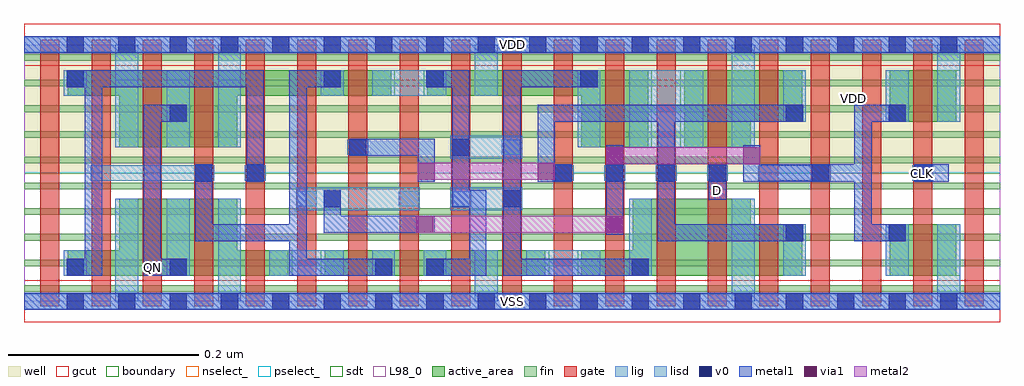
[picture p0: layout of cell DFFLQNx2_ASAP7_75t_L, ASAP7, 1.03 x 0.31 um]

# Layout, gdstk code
import gdstk
lib = gdstk.Library(unit=1e-6, precision=2.5e-10)
def R(c, l, rs):  # rectangles x0, y0, x1, y1
    for r in rs: c.add(gdstk.rectangle(r[:2], r[2:], *l))
def A(c, l, x, y, w, h, nx, ny, dx, dy):  # array of equal rectangles
    R(c, l, [(x+i*dx, y+j*dy, x+i*dx+w, y+j*dy+h) for i in range(nx) for j in range(ny)])
def P(c, l, *ps):  # polygons
    for p in ps: c.add(gdstk.Polygon(p, *l))
well = (1, 0)
fin = (2, 0)
gate = (7, 0)
gcut = (10, 0)
active_area = (11, 0)
nselect_ = (12, 0)
pselect_ = (13, 0)
lig = (16, 0)
lisd = (17, 0)
v0 = (18, 0)
metal1 = (19, 0)
metal2 = (20, 0)
via1 = (21, 0)
sdt = (88, 0)
L98_0 = (98, 0)
boundary = (100, 0)

dfflqnx2_asap7_75t_l = lib.new_cell('DFFLQNx2_ASAP7_75t_L')
R(dfflqnx2_asap7_75t_l, well, [(0,0.135,1.026,0.27)])
A(dfflqnx2_asap7_75t_l, fin, 0, 0.01, 1.026, 0.007, 1, 10, 0, 0.027)
A(dfflqnx2_asap7_75t_l, gate, 0.017, -0.005, 0.02, 0.28, 19, 1, 0.054, 0)
R(dfflqnx2_asap7_75t_l, gcut, [(0,-0.022,1.026,0.022), (0,0.248,1.026,0.292)])
R(dfflqnx2_asap7_75t_l, active_area, [(0.316,0.027,0.548,0.054), (0.91,0.027,0.98,0.081), (0.91,0.189,0.98,0.243)])
P(dfflqnx2_asap7_75t_l, active_area, [(0.586,0.027),(0.586,0.054),(0.64,0.054),(0.64,0.108),(0.764,0.108),(0.764,0.081),(0.818,0.081),(0.818,0.027)],
  [(0.046,0.027),(0.046,0.054),(0.1,0.054),(0.1,0.108),(0.224,0.108),(0.224,0.054),(0.278,0.054),(0.278,0.027)],
  [(0.694,0.162),(0.694,0.243),(0.818,0.243),(0.818,0.189),(0.764,0.189),(0.764,0.162)],
  [(0.586,0.162),(0.586,0.216),(0.424,0.216),(0.424,0.243),(0.656,0.243),(0.656,0.162)],
  [(0.1,0.162),(0.1,0.216),(0.046,0.216),(0.046,0.243),(0.386,0.243),(0.386,0.216),(0.224,0.216),(0.224,0.162)])
R(dfflqnx2_asap7_75t_l, nselect_, [(0,0,1.026,0.135)])
R(dfflqnx2_asap7_75t_l, pselect_, [(0,0.135,1.026,0.27)])
A(dfflqnx2_asap7_75t_l, lig, 0.556, 0.127, 0.022, 0.016, 4, 1, 0.054, 0)
R(dfflqnx2_asap7_75t_l, lig, [(0,-0.008,1.026,0.008), (0.286,0.1,0.308,0.116), (0.394,0.1,0.416,0.116), (0.448,0.1,0.47,0.116), (0.07,0.127,0.2,0.143), (0.232,0.127,0.254,0.143), (0.772,0.127,0.848,0.143), (0.934,0.127,0.956,0.143), (0.34,0.154,0.362,0.17), (0.502,0.154,0.524,0.17), (0,0.262,1.026,0.278)])
R(dfflqnx2_asap7_75t_l, lisd, [(0.096,0,0.12,0.108), (0.204,0,0.228,0.108), (0.474,0,0.498,0.054), (0.744,0,0.768,0.108), (0.96,0,0.984,0.081), (0.042,0.027,0.066,0.054), (0.15,0.027,0.174,0.108), (0.258,0.027,0.336,0.054), (0.366,0.027,0.39,0.054), (0.42,0.027,0.444,0.054), (0.528,0.027,0.606,0.054), (0.636,0.027,0.66,0.108), (0.798,0.027,0.822,0.081), (0.906,0.027,0.93,0.081), (0.286,0.096,0.416,0.12), (0.448,0.096,0.524,0.12), (0.448,0.15,0.524,0.174), (0.096,0.162,0.12,0.27), (0.15,0.162,0.174,0.243), (0.204,0.162,0.228,0.27), (0.582,0.162,0.606,0.243), (0.636,0.162,0.714,0.243), (0.744,0.162,0.768,0.27), (0.798,0.189,0.822,0.243), (0.906,0.189,0.93,0.243), (0.96,0.189,0.984,0.27), (0.042,0.216,0.066,0.243), (0.312,0.216,0.336,0.243), (0.366,0.216,0.444,0.243), (0.474,0.216,0.498,0.27)])
A(dfflqnx2_asap7_75t_l, v0, 0.045, -0.009, 0.018, 0.018, 18, 2, 0.054, 0.27)
A(dfflqnx2_asap7_75t_l, v0, 0.558, 0.126, 0.018, 0.018, 4, 1, 0.054, 0)
R(dfflqnx2_asap7_75t_l, v0, [(0.045,0.027,0.063,0.045), (0.153,0.027,0.171,0.045), (0.369,0.027,0.387,0.045), (0.423,0.027,0.441,0.045), (0.639,0.027,0.657,0.045), (0.801,0.063,0.819,0.081), (0.909,0.063,0.927,0.081), (0.315,0.099,0.333,0.117), (0.504,0.099,0.522,0.117), (0.18,0.126,0.198,0.144), (0.234,0.126,0.252,0.144), (0.828,0.126,0.846,0.144), (0.936,0.126,0.954,0.144), (0.342,0.153,0.36,0.171), (0.45,0.153,0.468,0.171), (0.153,0.189,0.171,0.207), (0.801,0.189,0.819,0.207), (0.909,0.189,0.927,0.207), (0.045,0.225,0.063,0.243), (0.315,0.225,0.333,0.243), (0.423,0.225,0.441,0.243), (0.585,0.225,0.603,0.243)])
R(dfflqnx2_asap7_75t_l, metal1, [(0,-0.009,1.026,0.009), (0.612,0.07,0.63,0.164), (0.72,0.107,0.738,0.144), (0.936,0.126,0.972,0.144), (0,0.261,1.026,0.279)])
P(dfflqnx2_asap7_75t_l, metal1, [(0.315,0.072),(0.315,0.117),(0.333,0.117),(0.333,0.09),(0.432,0.09),(0.432,0.072)],
  [(0.414,0.126),(0.414,0.153),(0.342,0.153),(0.342,0.171),(0.432,0.171),(0.432,0.126)],
  [(0.666,0.063),(0.666,0.189),(0.558,0.189),(0.558,0.144),(0.576,0.144),(0.576,0.126),(0.54,0.126),(0.54,0.207),(0.819,0.207),(0.819,0.189),(0.684,0.189),(0.684,0.081),(0.819,0.081),(0.819,0.063)],
  [(0.126,0.027),(0.126,0.207),(0.171,0.207),(0.171,0.189),(0.144,0.189),(0.144,0.045),(0.171,0.045),(0.171,0.027)],
  [(0.279,0.027),(0.279,0.063),(0.18,0.063),(0.18,0.144),(0.198,0.144),(0.198,0.081),(0.279,0.081),(0.279,0.243),(0.333,0.243),(0.333,0.225),(0.297,0.225),(0.297,0.045),(0.387,0.045),(0.387,0.027)],
  [(0.873,0.063),(0.873,0.126),(0.756,0.126),(0.756,0.164),(0.774,0.164),(0.774,0.144),(0.873,0.144),(0.873,0.207),(0.927,0.207),(0.927,0.189),(0.891,0.189),(0.891,0.081),(0.927,0.081),(0.927,0.063)],
  [(0.504,0.027),(0.504,0.243),(0.603,0.243),(0.603,0.225),(0.522,0.225),(0.522,0.045),(0.657,0.045),(0.657,0.027)],
  [(0.045,0.027),(0.045,0.045),(0.064,0.045),(0.064,0.225),(0.045,0.225),(0.045,0.243),(0.252,0.243),(0.252,0.126),(0.234,0.126),(0.234,0.225),(0.082,0.225),(0.082,0.027)],
  [(0.423,0.027),(0.423,0.045),(0.468,0.045),(0.468,0.099),(0.45,0.099),(0.45,0.225),(0.423,0.225),(0.423,0.243),(0.468,0.243),(0.468,0.117),(0.486,0.117),(0.486,0.027)])
R(dfflqnx2_asap7_75t_l, metal2, [(0.412,0.072,0.63,0.09), (0.414,0.128,0.558,0.146), (0.612,0.144,0.774,0.162)])
R(dfflqnx2_asap7_75t_l, via1, [(0.412,0.072,0.43,0.09), (0.612,0.072,0.63,0.09), (0.414,0.128,0.432,0.146), (0.54,0.128,0.558,0.146), (0.612,0.144,0.63,0.162), (0.756,0.144,0.774,0.162)])
A(dfflqnx2_asap7_75t_l, sdt, 0.096, 0.027, 0.024, 0.081, 3, 2, 0.054, 0.135)
A(dfflqnx2_asap7_75t_l, sdt, 0.258, 0.027, 0.024, 0.027, 7, 1, 0.054, 0)
A(dfflqnx2_asap7_75t_l, sdt, 0.582, 0.162, 0.024, 0.081, 4, 1, 0.054, 0)
A(dfflqnx2_asap7_75t_l, sdt, 0.312, 0.216, 0.024, 0.027, 4, 1, 0.054, 0)
R(dfflqnx2_asap7_75t_l, sdt, [(0.042,0.027,0.066,0.054), (0.636,0.027,0.66,0.108), (0.744,0.027,0.768,0.108), (0.798,0.027,0.822,0.081), (0.906,0.027,0.93,0.081), (0.96,0.027,0.984,0.081), (0.798,0.189,0.822,0.243), (0.906,0.189,0.93,0.243), (0.96,0.189,0.984,0.243), (0.042,0.216,0.066,0.243)])
R(dfflqnx2_asap7_75t_l, L98_0, [(0,0,1.026,0.27)])
R(dfflqnx2_asap7_75t_l, boundary, [(0,0,1.026,0.27)])
dfflqnx2_asap7_75t_l.add(gdstk.Label('CLK', (0.945,0.135), layer=19, texttype=251))
dfflqnx2_asap7_75t_l.add(gdstk.Label('QN', (0.135,0.036), layer=19, texttype=251))
dfflqnx2_asap7_75t_l.add(gdstk.Label('D', (0.729,0.117), layer=19, texttype=251))
dfflqnx2_asap7_75t_l.add(gdstk.Label('VSS', (0.513,0), layer=19, texttype=251))
dfflqnx2_asap7_75t_l.add(gdstk.Label('VDD', (0.513,0.27), layer=19, texttype=251))
dfflqnx2_asap7_75t_l.add(gdstk.Label('VDD', (0.872,0.213), layer=1, texttype=251))
dfflqnx2_asap7_75t_l.add(gdstk.Label('VSS', (1.18,0.213), layer=3, texttype=251))

lib.write_gds('DFFLQNx2_ASAP7_75t_L.gds')
